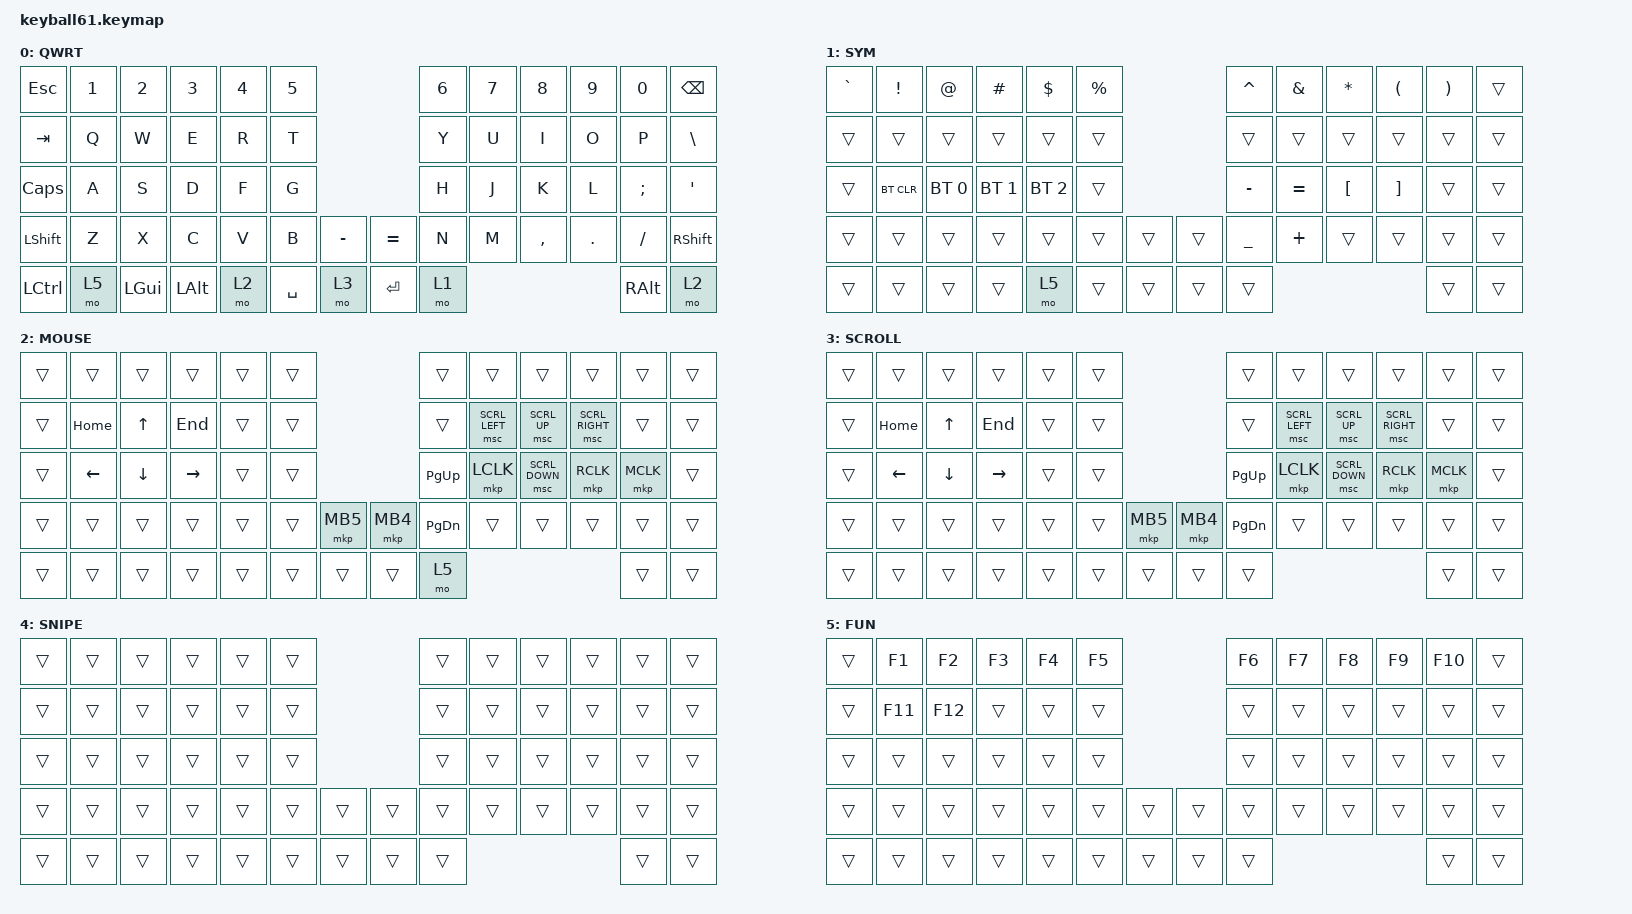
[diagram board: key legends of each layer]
#define DEFAULT 0
#define SYM     1
#define MOUSE   2
#define SCROLL  3
#define SNIPE   4
#define FUN     5

#include <behaviors/mouse_keys.dtsi>
#include <dt-bindings/zmk/mouse.h>
#include <behaviors.dtsi>
#include <dt-bindings/zmk/bt.h>
#include <dt-bindings/zmk/keys.h>
#include <dt-bindings/zmk/pointing.h>

&lt {
    tapping-term-ms = <240>;
    flavor = "balanced";
    quick-tap-ms = <150>;
};

&mt {
    tapping-term-ms = <200>;
    flavor = "tap-preferred";
    quick-tap-ms = <150>;
};

/ {
    keymap {
        compatible = "zmk,keymap";

        default_layer {
            label = "QWRT";
            bindings = <
&kp ESC         &kp N1  &kp N2        &kp N3        &kp N4  &kp N5                           &kp N6  &kp N7  &kp N8     &kp N9   &kp N0         &kp BSPC
&kp TAB         &kp Q   &kp W         &kp E         &kp R   &kp T                            &kp Y   &kp U   &kp I      &kp O    &kp P          &kp BACKSLASH
&kp CAPS        &kp A   &kp S         &kp D         &kp F   &kp G                            &kp H   &kp J   &kp K      &kp L    &kp SEMI       &kp SQT
&kp LEFT_SHIFT  &kp Z   &kp X         &kp C         &kp V   &kp B      &kp MINUS  &kp EQUAL  &kp N   &kp M   &kp COMMA  &kp DOT  &kp FSLH       &kp RIGHT_SHIFT
&kp LCTRL       &mo 5   &kp LEFT_GUI  &kp LEFT_ALT  &mo 2   &kp SPACE  &mo 3      &kp ENTER  &mo 1                               &kp RIGHT_ALT  &mo 2
            >;
        };

        symbol_layer {
            label = "SYM";
            bindings = <
&kp GRAVE  &kp EXCLAMATION  &kp AT_SIGN   &kp HASH      &kp DOLLAR    &kp PERCENT                  &kp CARET       &kp AMPERSAND  &kp ASTERISK      &kp LEFT_PARENTHESIS  &kp RIGHT_PARENTHESIS  &trans
&trans     &trans           &trans        &trans        &trans        &trans                       &trans          &trans         &trans            &trans                &trans                 &trans
&trans     &bt BT_CLR       &bt BT_SEL 0  &bt BT_SEL 1  &bt BT_SEL 2  &trans                       &kp MINUS       &kp EQUAL      &kp LEFT_BRACKET  &kp RIGHT_BRACKET     &trans                 &trans
&trans     &trans           &trans        &trans        &trans        &trans       &trans  &trans  &kp UNDERSCORE  &kp PLUS       &trans            &trans                &trans                 &trans
&trans     &trans           &trans        &trans        &mo 5         &trans       &trans  &trans  &trans                                                                 &trans                 &trans
            >;
        };

        mouse_layer {
            label = "MOUSE";
            bindings = <
&trans  &trans    &trans    &trans     &trans  &trans                      &trans         &trans          &trans          &trans           &trans     &trans
&trans  &kp HOME  &kp UP    &kp END    &trans  &trans                      &trans         &msc SCRL_LEFT  &msc SCRL_UP    &msc SCRL_RIGHT  &trans     &trans
&trans  &kp LEFT  &kp DOWN  &kp RIGHT  &trans  &trans                      &kp PAGE_UP    &mkp LCLK       &msc SCRL_DOWN  &mkp RCLK        &mkp MCLK  &trans
&trans  &trans    &trans    &trans     &trans  &trans  &mkp MB5  &mkp MB4  &kp PAGE_DOWN  &trans          &trans          &trans           &trans     &trans
&trans  &trans    &trans    &trans     &trans  &trans  &trans    &trans    &mo 5                                                           &trans     &trans
            >;
        };

        scroll_layer {
            label = "SCROLL";
            bindings = <
&trans  &trans    &trans    &trans     &trans  &trans                      &trans         &trans          &trans          &trans           &trans     &trans
&trans  &kp HOME  &kp UP    &kp END    &trans  &trans                      &trans         &msc SCRL_LEFT  &msc SCRL_UP    &msc SCRL_RIGHT  &trans     &trans
&trans  &kp LEFT  &kp DOWN  &kp RIGHT  &trans  &trans                      &kp PAGE_UP    &mkp LCLK       &msc SCRL_DOWN  &mkp RCLK        &mkp MCLK  &trans
&trans  &trans    &trans    &trans     &trans  &trans  &mkp MB5  &mkp MB4  &kp PAGE_DOWN  &trans          &trans          &trans           &trans     &trans
&trans  &trans    &trans    &trans     &trans  &trans  &trans    &trans    &trans                                                          &trans     &trans
            >;
        };

        snipe_layer {
            label = "SNIPE";
            bindings = <
&trans  &trans  &trans  &trans  &trans  &trans                  &trans  &trans  &trans  &trans  &trans  &trans
&trans  &trans  &trans  &trans  &trans  &trans                  &trans  &trans  &trans  &trans  &trans  &trans
&trans  &trans  &trans  &trans  &trans  &trans                  &trans  &trans  &trans  &trans  &trans  &trans
&trans  &trans  &trans  &trans  &trans  &trans  &trans  &trans  &trans  &trans  &trans  &trans  &trans  &trans
&trans  &trans  &trans  &trans  &trans  &trans  &trans  &trans  &trans                          &trans  &trans
            >;
        };

        function_layer {
            label = "FUN";
            bindings = <
&trans  &kp F1   &kp F2   &kp F3  &kp F4  &kp F5                  &kp F6  &kp F7  &kp F8  &kp F9  &kp F10  &trans
&trans  &kp F11  &kp F12  &trans  &trans  &trans                  &trans  &trans  &trans  &trans  &trans   &trans
&trans  &trans   &trans   &trans  &trans  &trans                  &trans  &trans  &trans  &trans  &trans   &trans
&trans  &trans   &trans   &trans  &trans  &trans  &trans  &trans  &trans  &trans  &trans  &trans  &trans   &trans
&trans  &trans   &trans   &trans  &trans  &trans  &trans  &trans  &trans                          &trans   &trans
            >;
        };
    };
};
